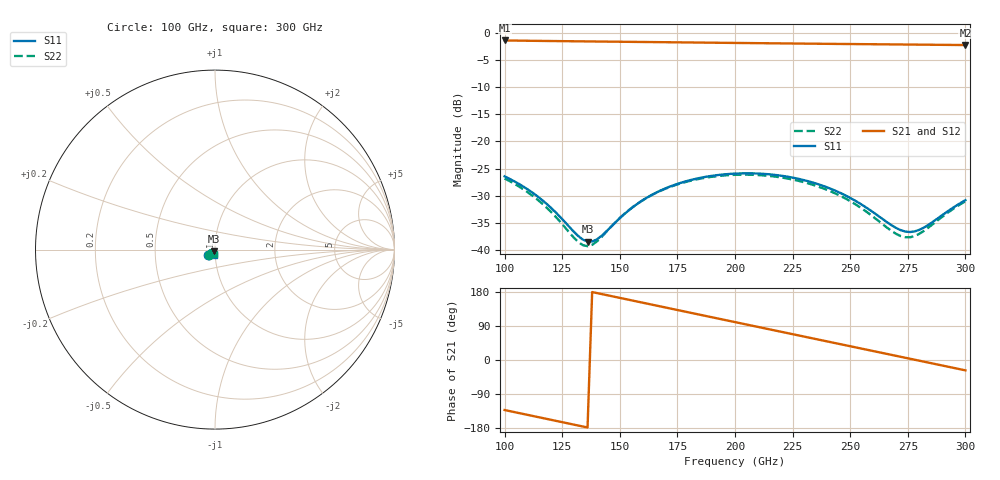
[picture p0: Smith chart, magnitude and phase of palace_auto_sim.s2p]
#  GHZ S DB R 50
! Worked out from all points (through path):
!   101 points, 100 GHz to 300 GHz, reference 50 ohm
!   highest |S21| = -1.37 dB at 100 GHz (marker M1); lowest = -2.2 dB at 300 GHz (marker M2)
!   group delay of S21, straight-line fit = 3.55 ps
!   lowest |S11| = -38.5 dB at 136 GHz (marker M3), VSWR 1.02, Z = 49.3 - j0.986 ohm
!   |S11| at or under -10 dB: start of sweep to end of sweep
!   |S22| runs from -39.3 to -26.1 dB; largest |S21 - S12| = 9.1e-14
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100  -26.44 -141.2  -1.37 -132.0  -1.37 -132.0  -26.84 -141.7
108  -28.30 -149.6  -1.41 -142.3  -1.41 -142.3  -28.79 -150.1
116  -30.71 -155.2  -1.45 -152.5  -1.45 -152.5  -31.36 -155.7
126  -34.78 -152.9  -1.50 -165.3  -1.50 -165.3  -35.75 -152.2
134  -38.12 -131.9  -1.54 -175.6  -1.54 -175.6  -39.14 -126.9
136  -38.47 -123.1  -1.55 -178.1  -1.55 -178.1  -39.32 -116.9
138  -38.45 -113.9  -1.55 179.3  -1.55 179.3  -39.07 -107.1
142  -37.45 -98.2  -1.57 174.2  -1.57 174.2  -37.66 -92.0
152  -33.39 -83.1  -1.61 161.4  -1.61 161.4  -33.35 -80.3
160  -30.83 -84.5  -1.65 151.1  -1.65 151.1  -30.83 -83.0
168  -29.00 -90.1  -1.68 140.9  -1.68 140.9  -29.05 -89.4
184  -26.80 -105.5  -1.76 120.4  -1.76 120.4  -26.94 -105.8
200  -25.93 -122.6  -1.83 100.0  -1.83 100.0  -26.16 -123.5
216  -26.11 -139.6  -1.89 79.6  -1.89 79.6  -26.41 -141.0
224  -26.59 -147.7  -1.93 69.4  -1.93 69.4  -26.94 -149.3
234  -27.61 -156.9  -1.97 56.7  -1.97 56.7  -28.03 -158.9
250  -30.42 -167.3  -2.03 36.3  -2.03 36.3  -31.02 -169.8
268  -35.47 -157.4  -2.10 13.4  -2.10 13.4  -36.53 -158.2
274  -36.63 -142.3  -2.12 5.8  -2.12 5.8  -37.68 -140.6
278  -36.60 -130.2  -2.13 0.7  -2.13 0.7  -37.45 -127.2
288  -34.19 -109.5  -2.17 -12.0  -2.17 -12.0  -34.55 -106.9
300  -30.84 -105.4  -2.22 -27.3  -2.22 -27.3  -31.04 -104.6
